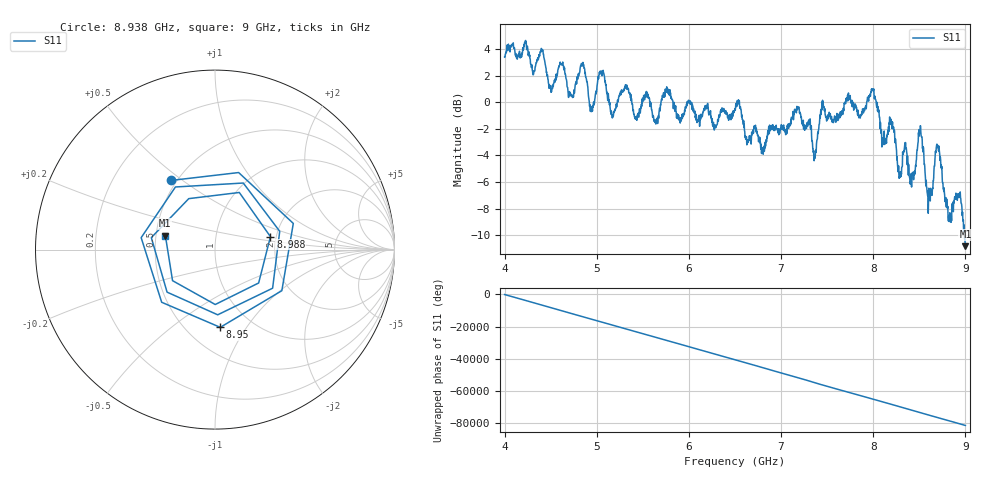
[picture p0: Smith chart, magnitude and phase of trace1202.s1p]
! Created with skrf 1.8.0 (http://scikit-rf.org).
# Hz S RI R 50.0
!freq ReS11 ImS11
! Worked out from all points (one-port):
!   1601 points, 4 GHz to 9 GHz, reference 50 ohm
!   lowest |S11| = -10.8 dB at 9 GHz (marker M1), VSWR 1.81, Z = 28 + j4.79 ohm
!   |S11| at or under -10 dB: 8.98826 GHz to end of sweep
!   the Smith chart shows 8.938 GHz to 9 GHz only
!   S11 on the Smith chart (normalised r, x): 8.938 GHz: 0.47, +0.45; 8.95 GHz: 0.72, -0.77; 8.988 GHz: 1.86, +0.30; 9 GHz: 0.56, +0.10
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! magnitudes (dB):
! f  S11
! 4 GHz  3.4
! 4.406 GHz  3.9
! 4.503 GHz  0.8
! 4.625 GHz  2.9
! 4.719 GHz  0.6
! 4.85 GHz  3.0
! 4.947 GHz  -0.3
! 5.05 GHz  2.3
! 5.169 GHz  -1.2
! 5.25 GHz  0.5
! 5.875 GHz  -0.9
! 6.5 GHz  -0.5
! 6.8 GHz  -3.7
! 7.125 GHz  -1.1
! 7.366 GHz  -4.1
! 7.447 GHz  -0.5
! 7.75 GHz  0.5
! 7.997 GHz  1.0
! 8.109 GHz  -2.8
! 8.375 GHz  -4.5
! 8.512 GHz  -1.8
! 8.603 GHz  -6.5
! 8.697 GHz  -3.2
! 8.825 GHz  -9.0
! 8.938 GHz  -6.8
! 8.95 GHz  -7.2
! 8.988 GHz  -10.0
! 9 GHz  -10.8
